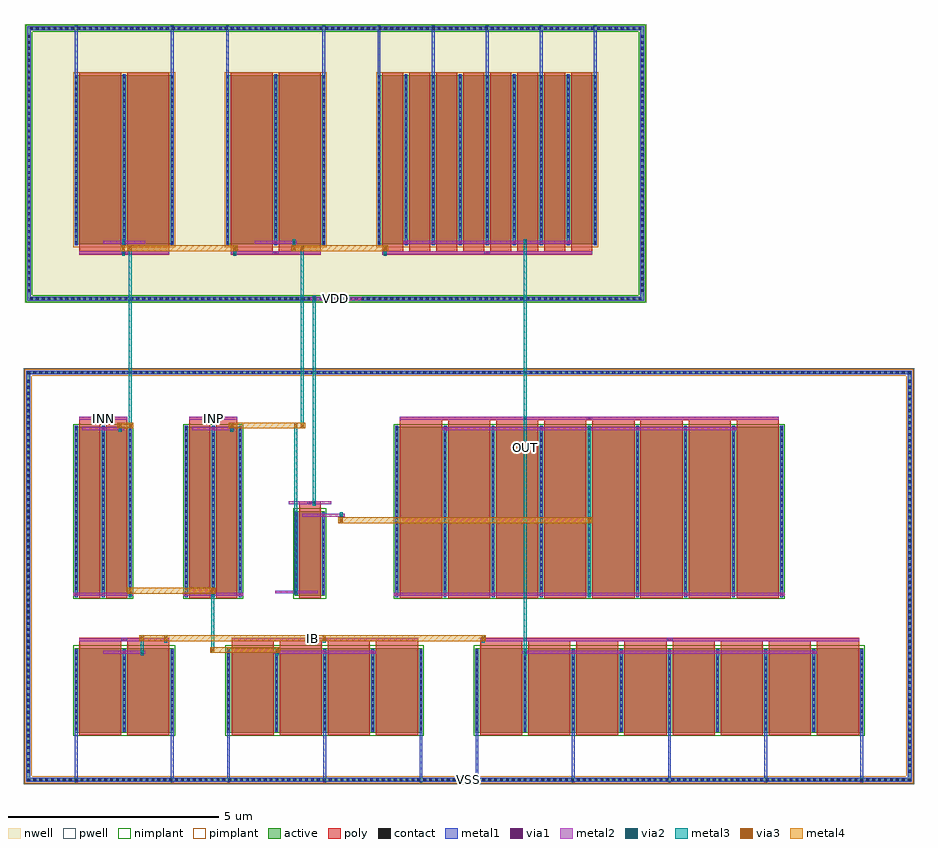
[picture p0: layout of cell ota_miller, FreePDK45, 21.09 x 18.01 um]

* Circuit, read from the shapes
.subckt ota_miller IB INN INP OUT VDD VSS
M1 IB IB VSS VSS nfet w=2u l=1u m=2
M2 n1 INN n2 VSS nfet w=4u l=0.5u m=2
M3 n3 INP n2 VSS nfet w=4u l=0.5u m=2
M4 n2 IB VSS VSS nfet w=2u l=1u m=4
M5 n4 VDD n3 VSS nfet w=2u l=0.5u
M6 n4 OUT n4 VSS nfet w=4u l=1u m=8
M7 OUT IB VSS VSS nfet w=2u l=1u m=8
M8 n1 n1 VDD VDD pfet w=4u l=1u m=2
M9 n3 n1 VDD VDD pfet w=4u l=1u m=2
M10 OUT n3 VDD VDD pfet w=4u l=0.5u m=8
.ends

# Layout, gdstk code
import gdstk
lib = gdstk.Library(unit=1e-6, precision=5e-10)
def R(c, l, rs):  # rectangles x0, y0, x1, y1
    for r in rs: c.add(gdstk.rectangle(r[:2], r[2:], *l))
def A(c, l, x, y, w, h, nx, ny, dx, dy):  # array of equal rectangles
    R(c, l, [(x+i*dx, y+j*dy, x+i*dx+w, y+j*dy+h) for i in range(nx) for j in range(ny)])
active = (1, 0)
pwell = (2, 0)
nwell = (3, 0)
nimplant = (4, 0)
pimplant = (5, 0)
poly = (9, 0)
contact = (10, 0)
metal1 = (11, 0)
via1 = (12, 0)
metal2 = (13, 0)
via2 = (14, 0)
metal3 = (15, 0)
via3 = (16, 0)
metal4 = (17, 0)

ota_miller = lib.new_cell('ota_miller')
R(ota_miller, active, [(-1.145,-1.16,19.84,-1.07), (-1.145,-1.07,-1.055,8.49), (19.75,-1.07,19.84,8.49), (0,0,2.355,2), (3.61,0,8.245,2), (9.5,0,18.695,2), (0,3.245,1.355,7.245), (2.61,3.245,3.965,7.245), (5.22,3.245,5.935,5.245), (7.6,3.245,16.795,7.245), (-1.145,8.49,19.84,8.58), (-1.125,10.24,13.5,10.33), (-1.125,10.33,-1.035,16.65), (13.41,10.33,13.5,16.65), (0,11.58,2.355,15.58), (3.59,11.58,5.945,15.58), (7.18,11.58,12.375,15.58), (-1.125,16.65,13.5,16.74)])
R(ota_miller, pwell, [(-1.2,-1.215,19.895,8.635), (-0.055,-0.055,2.41,2.055), (3.555,-0.055,8.3,2.055), (9.445,-0.055,18.75,2.055), (-0.055,3.19,1.41,7.3), (2.555,3.19,4.02,7.3), (5.165,3.19,5.99,5.3), (7.545,3.19,16.85,7.3)])
R(ota_miller, nwell, [(-1.18,10.185,13.555,16.795)])
R(ota_miller, nimplant, [(-0.035,-0.07,2.39,2.07), (3.575,-0.07,8.28,2.07), (9.465,-0.07,18.73,2.07), (-0.035,3.175,1.39,7.315), (2.575,3.175,4,7.315), (5.185,3.175,5.97,5.315), (7.565,3.175,16.83,7.315), (-1.16,10.205,13.535,10.365), (-1.16,10.295,-1,16.685), (13.375,10.295,13.535,16.685), (-1.16,16.615,13.535,16.775)])
R(ota_miller, pimplant, [(-1.18,-1.195,19.875,-1.035), (-1.18,-1.105,-1.02,8.525), (19.715,-1.105,19.875,8.525), (-1.18,8.455,19.875,8.615), (-0.035,11.51,2.39,15.65), (3.555,11.51,5.98,15.65), (7.145,11.51,12.41,15.65)])
A(ota_miller, poly, 3.72, -0.055, 1, 2.11, 4, 1, 1.14, 0)
A(ota_miller, poly, 3.72, -0.055, 1, 2.265, 4, 1, 1.14, 0)
A(ota_miller, poly, 9.61, -0.055, 1, 2.11, 8, 1, 1.14, 0)
A(ota_miller, poly, 9.61, -0.055, 1, 2.265, 8, 1, 1.14, 0)
A(ota_miller, poly, 7.71, 3.19, 1, 4.11, 8, 1, 1.14, 0)
A(ota_miller, poly, 7.71, 3.19, 1, 4.26, 8, 1, 1.14, 0)
A(ota_miller, poly, 7.29, 11.37, 0.5, 4.265, 8, 1, 0.64, 0)
A(ota_miller, poly, 7.29, 11.525, 0.5, 4.11, 8, 1, 0.64, 0)
R(ota_miller, poly, [(0.11,-0.055,1.11,2.055), (0.11,-0.055,1.11,2.21), (1.25,-0.055,2.25,2.055), (1.25,-0.055,2.25,2.21), (0.11,2.17,2.25,2.245), (1.14,2.17,1.215,2.245), (3.72,2.17,8.14,2.245), (5.89,2.17,5.965,2.245), (9.61,2.17,18.59,2.245), (14.06,2.17,14.135,2.245), (0.11,3.19,0.61,7.3), (0.11,3.19,0.61,7.45), (0.75,3.19,1.25,7.3), (0.75,3.19,1.25,7.45), (2.72,3.19,3.22,7.3), (2.72,3.19,3.22,7.45), (3.36,3.19,3.86,7.3), (3.36,3.19,3.86,7.45), (5.33,3.19,5.83,5.3), (5.33,3.19,5.83,5.45), (5.33,5.41,5.83,5.485), (5.54,5.41,5.615,5.485), (0.11,7.41,1.25,7.485), (0.64,7.41,0.715,7.485), (2.72,7.41,3.86,7.485), (3.25,7.41,3.325,7.485), (7.71,7.41,16.69,7.485), (12.16,7.41,12.235,7.485), (0.11,11.33,2.25,11.405), (1.14,11.33,1.215,11.405), (3.7,11.33,5.84,11.405), (4.73,11.33,4.805,11.405), (7.29,11.33,12.27,11.405), (9.74,11.33,9.815,11.405), (0.11,11.37,1.11,15.635), (1.25,11.37,2.25,15.635), (3.7,11.37,4.7,15.635), (4.84,11.37,5.84,15.635), (0.11,11.525,1.11,15.635), (1.25,11.525,2.25,15.635), (3.7,11.525,4.7,15.635), (4.84,11.525,5.84,15.635)])
A(ota_miller, contact, -1.115, -1.15, 0.065, 0.065, 150, 2, 0.14, 9.65)
A(ota_miller, contact, -1.135, -0.945, 0.065, 0.065, 1, 67, 0, 0.14)
A(ota_miller, contact, 19.76, -0.945, 0.065, 0.065, 1, 67, 0, 0.14)
A(ota_miller, contact, 0.005, 0.055, 0.065, 0.065, 3, 14, 1.14, 0.14)
A(ota_miller, contact, 3.615, 0.055, 0.065, 0.065, 5, 14, 1.14, 0.14)
A(ota_miller, contact, 9.505, 0.055, 0.065, 0.065, 9, 14, 1.14, 0.14)
A(ota_miller, contact, 0.005, 3.25, 0.065, 0.065, 3, 29, 0.64, 0.14)
A(ota_miller, contact, 2.615, 3.25, 0.065, 0.065, 3, 29, 0.64, 0.14)
A(ota_miller, contact, 7.605, 3.25, 0.065, 0.065, 9, 29, 1.14, 0.14)
A(ota_miller, contact, 5.225, 3.3, 0.065, 0.065, 1, 14, 0, 0.14)
A(ota_miller, contact, 5.865, 3.3, 0.065, 0.065, 1, 14, 0, 0.14)
A(ota_miller, contact, -1.055, 10.25, 0.065, 0.065, 104, 2, 0.14, 6.41)
A(ota_miller, contact, -1.115, 10.445, 0.065, 0.065, 1, 44, 0, 0.14)
A(ota_miller, contact, 13.42, 10.445, 0.065, 0.065, 1, 44, 0, 0.14)
A(ota_miller, contact, 0.005, 11.585, 0.065, 0.065, 3, 29, 1.14, 0.14)
A(ota_miller, contact, 3.595, 11.585, 0.065, 0.065, 3, 29, 1.14, 0.14)
A(ota_miller, contact, 7.185, 11.585, 0.065, 0.065, 9, 29, 0.64, 0.14)
R(ota_miller, contact, [(1.145,2.175,1.21,2.24), (5.895,2.175,5.96,2.24), (14.065,2.175,14.13,2.24), (5.545,5.415,5.61,5.48), (0.645,7.415,0.71,7.48), (3.255,7.415,3.32,7.48), (12.165,7.415,12.23,7.48), (1.145,11.335,1.21,11.4), (4.735,11.335,4.8,11.4), (9.745,11.335,9.81,11.4)])
A(ota_miller, metal1, 3.615, -1.17, 0.065, 1.19, 3, 1, 2.28, 0)
A(ota_miller, metal1, 9.505, -1.17, 0.065, 1.19, 5, 1, 2.28, 0)
A(ota_miller, metal1, 0.005, 0.02, 0.065, 1.955, 3, 1, 1.14, 0)
A(ota_miller, metal1, 3.615, 0.02, 0.065, 1.955, 5, 1, 1.14, 0)
A(ota_miller, metal1, 9.505, 0.02, 0.065, 1.955, 9, 1, 1.14, 0)
A(ota_miller, metal1, 10.645, 1.835, 0.07, 0.14, 4, 1, 2.28, 0)
A(ota_miller, metal1, 0.005, 3.215, 0.065, 4.055, 3, 1, 0.64, 0)
A(ota_miller, metal1, 2.615, 3.215, 0.065, 4.055, 3, 1, 0.64, 0)
A(ota_miller, metal1, 7.605, 3.215, 0.065, 4.055, 9, 1, 1.14, 0)
A(ota_miller, metal1, 7.605, 3.215, 0.07, 0.14, 5, 1, 2.28, 0)
A(ota_miller, metal1, 8.745, 7.13, 0.07, 0.14, 4, 1, 2.28, 0)
A(ota_miller, metal1, 0.005, 11.55, 0.065, 4.055, 3, 1, 1.14, 0)
A(ota_miller, metal1, 3.595, 11.55, 0.065, 4.055, 3, 1, 1.14, 0)
A(ota_miller, metal1, 7.185, 11.55, 0.065, 4.055, 9, 1, 0.64, 0)
A(ota_miller, metal1, 7.825, 11.55, 0.07, 0.14, 4, 1, 1.28, 0)
A(ota_miller, metal1, 7.185, 15.605, 0.065, 1.145, 5, 1, 1.28, 0)
R(ota_miller, metal1, [(0.005,-1.17,0.07,0.02), (2.285,-1.17,2.35,0.02), (-1.15,-1.16,19.845,-1.07), (-1.145,-1.07,-1.055,8.49), (19.75,-1.07,19.84,8.49), (1.145,1.835,1.215,1.975), (4.755,1.835,4.825,1.975), (7.035,1.835,7.105,1.975), (1.11,2.175,1.25,2.245), (5.86,2.175,6,2.245), (14.03,2.175,14.17,2.245), (0.005,3.215,0.075,3.355), (1.285,3.215,1.355,3.355), (2.615,3.215,2.685,3.355), (3.895,3.215,3.965,3.355), (5.225,3.265,5.295,3.405), (5.225,3.265,5.29,5.22), (5.865,3.265,5.93,5.22), (5.865,5.08,5.935,5.22), (5.51,5.415,5.65,5.485), (0.645,7.13,0.715,7.27), (3.255,7.13,3.325,7.27), (0.61,7.415,0.75,7.485), (3.22,7.415,3.36,7.485), (12.13,7.415,12.27,7.485), (-1.15,8.49,19.845,8.58), (-1.125,10.24,13.5,10.33), (6.12,10.25,6.26,10.32), (-1.125,10.33,-1.035,16.65), (13.41,10.33,13.5,16.65), (1.11,11.335,1.25,11.405), (4.7,11.335,4.84,11.405), (9.71,11.335,9.85,11.405), (1.145,11.55,1.215,11.69), (4.735,11.55,4.805,11.69), (0.005,15.605,0.07,16.75), (2.285,15.605,2.35,16.75), (3.595,15.605,3.66,16.75), (5.875,15.605,5.94,16.75), (-1.125,16.65,13.5,16.74)])
A(ota_miller, via1, 10.645, 1.87, 0.07, 0.07, 4, 1, 2.28, 0)
A(ota_miller, via1, 7.605, 3.25, 0.07, 0.07, 5, 1, 2.28, 0)
A(ota_miller, via1, 8.745, 7.165, 0.07, 0.07, 4, 1, 2.28, 0)
A(ota_miller, via1, 7.825, 11.585, 0.07, 0.07, 4, 1, 1.28, 0)
R(ota_miller, via1, [(1.145,1.87,1.215,1.94), (4.755,1.87,4.825,1.94), (7.035,1.87,7.105,1.94), (1.145,2.175,1.215,2.245), (5.895,2.175,5.965,2.245), (14.065,2.175,14.135,2.245), (0.005,3.25,0.075,3.32), (1.285,3.25,1.355,3.32), (2.615,3.25,2.685,3.32), (3.895,3.25,3.965,3.32), (5.225,3.3,5.295,3.37), (5.865,5.115,5.935,5.185), (5.545,5.415,5.615,5.485), (0.645,7.165,0.715,7.235), (3.255,7.165,3.325,7.235), (0.645,7.415,0.715,7.485), (3.255,7.415,3.325,7.485), (12.165,7.415,12.235,7.485), (6.155,10.25,6.225,10.32), (1.145,11.335,1.215,11.405), (4.735,11.335,4.805,11.405), (9.745,11.335,9.815,11.405), (1.145,11.585,1.215,11.655), (4.735,11.585,4.805,11.655)])
A(ota_miller, metal2, 10.61, 1.87, 0.14, 0.07, 4, 1, 2.28, 0)
A(ota_miller, metal2, 2.09, 2.17, 0.14, 0.07, 3, 1, 3.76, 0)
A(ota_miller, metal2, 7.57, 3.25, 0.14, 0.07, 3, 1, 2.28, 0)
A(ota_miller, metal2, 12.13, 3.25, 0.14, 0.07, 3, 1, 2.28, 0)
A(ota_miller, metal2, 10.99, 7.165, 0.14, 0.07, 3, 1, 1.14, 0)
A(ota_miller, metal2, 7.79, 11.585, 0.14, 0.07, 3, 1, 1.28, 0)
R(ota_miller, metal2, [(0.68,1.87,1.68,1.94), (1.11,1.87,1.25,1.94), (1.53,1.87,1.67,1.94), (4.72,1.87,4.86,1.94), (4.72,1.87,7.14,1.94), (4.73,1.87,4.87,1.94), (7,1.87,7.14,1.94), (10.61,1.87,10.75,1.94), (10.61,1.87,17.59,1.94), (0.11,2.17,2.25,2.24), (3.72,2.17,8.14,2.24), (9.61,2.17,18.59,2.24), (1.11,2.175,1.25,2.245), (5.86,2.175,6,2.245), (14.03,2.175,14.17,2.245), (-0.03,3.25,0.11,3.32), (-0.03,3.25,1.39,3.32), (1.25,3.25,1.39,3.32), (1.25,3.25,1.39,3.32), (2.58,3.25,2.72,3.32), (2.58,3.25,4,3.32), (3.21,3.25,3.35,3.32), (3.86,3.25,4,3.32), (7.57,3.25,16.83,3.32), (4.76,3.3,5.76,3.37), (5.17,3.3,5.31,3.37), (5.19,3.3,5.33,3.37), (5.4,5.115,6.4,5.185), (5.83,5.115,5.97,5.185), (6.25,5.115,6.39,5.185), (5.08,5.415,6.08,5.49), (5.51,5.415,5.65,5.485), (5.61,5.415,5.75,5.485), (0.18,7.165,1.18,7.235), (0.61,7.165,0.75,7.235), (1.01,7.165,1.15,7.235), (2.79,7.165,3.79,7.235), (3.22,7.165,3.36,7.235), (3.65,7.165,3.79,7.235), (8.71,7.165,8.85,7.235), (8.71,7.165,15.69,7.235), (15.55,7.165,15.69,7.235), (0.11,7.415,1.25,7.49), (0.61,7.415,0.75,7.485), (2.72,7.415,3.86,7.49), (3.22,7.415,3.36,7.485), (7.71,7.415,16.69,7.49), (10.61,7.415,10.75,7.485), (12.13,7.415,12.27,7.485), (5.59,10.25,6.79,10.32), (5.61,10.25,5.75,10.32), (6.12,10.25,6.26,10.32), (1.11,11.335,1.25,11.405), (4.7,11.335,4.84,11.405), (9.71,11.335,9.85,11.405), (0.11,11.34,2.25,11.41), (1.09,11.34,1.23,11.41), (3.7,11.34,5.84,11.41), (3.73,11.34,3.87,11.41), (7.29,11.34,7.43,11.41), (7.29,11.34,12.27,11.41), (0.68,11.585,1.68,11.655), (1.09,11.585,1.23,11.655), (1.11,11.585,1.25,11.655), (4.27,11.585,5.27,11.655), (4.7,11.585,4.84,11.655), (5.13,11.585,5.27,11.655), (7.79,11.585,11.77,11.655), (10.61,11.585,10.75,11.655), (11.63,11.585,11.77,11.655)])
A(ota_miller, via2, 2.125, 2.17, 0.07, 0.07, 3, 1, 3.76, 0)
R(ota_miller, via2, [(1.565,1.87,1.635,1.94), (4.765,1.87,4.835,1.94), (10.645,1.87,10.715,1.94), (1.285,3.25,1.355,3.32), (3.245,3.25,3.315,3.32), (12.165,3.25,12.235,3.32), (5.205,3.3,5.275,3.37), (6.285,5.115,6.355,5.185), (5.645,5.415,5.715,5.485), (1.045,7.165,1.115,7.235), (3.685,7.165,3.755,7.235), (12.165,7.165,12.235,7.235), (10.645,7.415,10.715,7.485), (5.645,10.25,5.715,10.32), (1.125,11.34,1.195,11.41), (3.765,11.34,3.835,11.41), (7.325,11.34,7.395,11.41), (1.125,11.585,1.195,11.655), (5.165,11.585,5.235,11.655), (10.645,11.585,10.715,11.655)])
A(ota_miller, metal3, 2.125, 2.135, 0.07, 0.14, 3, 2, 3.76, 0.035)
A(ota_miller, metal3, 2.125, 2.205, 0.07, 0.035, 3, 1, 3.76, 0)
A(ota_miller, metal3, 1.125, 11.41, 0.07, 0.14, 1, 3, 0, 0.07)
A(ota_miller, metal3, 5.165, 11.41, 0.07, 0.14, 1, 3, 0, 0.07)
R(ota_miller, metal3, [(1.565,1.835,1.635,1.975), (4.765,1.835,4.835,1.975), (10.645,1.835,10.715,1.975), (3.245,1.89,3.315,2.03), (4.765,1.89,4.835,2.03), (1.565,1.905,1.635,2.24), (4.765,1.905,4.835,1.96), (10.645,1.905,10.715,11.62), (3.245,1.96,3.315,3.36), (1.565,2.17,1.635,2.31), (1.285,3.215,1.355,3.355), (3.245,3.215,3.315,3.355), (12.165,3.215,12.235,3.355), (5.205,3.265,5.275,3.405), (1.285,3.285,1.355,3.36), (3.245,3.285,3.315,3.36), (12.165,3.285,12.235,5.04), (1.285,3.29,1.355,3.43), (3.245,3.29,3.315,3.43), (3.245,3.29,3.315,3.43), (5.205,3.335,5.275,7.28), (6.285,4.97,6.355,5.11), (12.165,4.97,12.235,5.11), (12.165,4.97,12.235,5.11), (6.285,5.04,6.355,5.15), (12.165,5.04,12.235,7.2), (6.285,5.08,6.355,5.22), (5.645,5.38,5.715,5.52), (5.645,5.45,5.715,10.285), (1.045,7.13,1.115,7.27), (3.685,7.13,3.755,7.27), (12.165,7.13,12.235,7.27), (1.045,7.2,1.115,7.28), (3.685,7.2,3.755,7.28), (1.045,7.21,1.115,7.35), (1.285,7.21,1.355,7.35), (3.685,7.21,3.755,7.35), (5.205,7.21,5.275,7.35), (5.365,7.21,5.435,7.35), (1.285,7.28,1.355,11.48), (5.365,7.28,5.435,11.48), (10.645,7.38,10.715,7.52), (5.645,10.215,5.715,10.355), (1.125,11.305,1.195,11.445), (3.765,11.305,3.835,11.445), (7.325,11.305,7.395,11.445), (1.125,11.375,1.195,11.48), (3.765,11.375,3.835,11.48), (7.325,11.375,7.395,11.48), (1.125,11.41,1.195,11.55), (1.285,11.41,1.355,11.55), (3.765,11.41,3.835,11.55), (5.365,11.41,5.435,11.55), (7.325,11.41,7.395,11.55), (10.645,11.55,10.715,11.69)])
A(ota_miller, via3, 2.125, 2.205, 0.07, 0.07, 3, 1, 3.76, 0)
R(ota_miller, via3, [(3.245,1.925,3.315,1.995), (4.765,1.925,4.835,1.995), (1.565,2.205,1.635,2.275), (1.285,3.325,1.355,3.395), (3.245,3.325,3.315,3.395), (3.245,3.325,3.315,3.395), (6.285,5.005,6.355,5.075), (12.165,5.005,12.235,5.075), (12.165,5.005,12.235,5.075), (1.045,7.245,1.115,7.315), (1.285,7.245,1.355,7.315), (3.685,7.245,3.755,7.315), (5.205,7.245,5.275,7.315), (5.365,7.245,5.435,7.315), (1.125,11.445,1.195,11.515), (1.125,11.445,1.195,11.515), (1.285,11.445,1.355,11.515), (3.765,11.445,3.835,11.515), (5.165,11.445,5.235,11.515), (5.365,11.445,5.435,11.515), (7.325,11.445,7.395,11.515)])
A(ota_miller, metal4, 2.09, 2.17, 0.14, 0.14, 3, 1, 3.76, 0)
R(ota_miller, metal4, [(3.21,1.89,3.35,2.03), (3.28,1.89,4.8,2.03), (4.73,1.89,4.87,2.03), (1.53,2.17,1.67,2.31), (1.6,2.17,9.68,2.31), (1.25,3.29,1.39,3.43), (1.32,3.29,3.28,3.43), (3.21,3.29,3.35,3.43), (3.21,3.29,3.35,3.43), (6.25,4.97,6.39,5.11), (6.32,4.97,12.2,5.11), (12.13,4.97,12.27,5.11), (12.13,4.97,12.27,5.11), (1.01,7.21,1.15,7.35), (1.08,7.21,1.32,7.35), (1.25,7.21,1.39,7.35), (3.65,7.21,3.79,7.35), (3.72,7.21,5.4,7.35), (5.17,7.21,5.31,7.35), (5.33,7.21,5.47,7.35), (1.09,11.41,1.23,11.55), (1.09,11.41,1.23,11.55), (1.16,11.41,3.8,11.55), (1.25,11.41,1.39,11.55), (3.73,11.41,3.87,11.55), (5.13,11.41,5.27,11.55), (5.2,11.41,7.36,11.55), (5.33,11.41,5.47,11.55), (7.29,11.41,7.43,11.55)])
ota_miller.add(gdstk.Label('INP', (3.29,7.452), layer=13, texttype=1))
ota_miller.add(gdstk.Label('INN', (0.68,7.452), layer=13, texttype=1))
ota_miller.add(gdstk.Label('OUT', (10.68,6.762), layer=15, texttype=1))
ota_miller.add(gdstk.Label('IB', (5.64,2.24), layer=17, texttype=1))
ota_miller.add(gdstk.Label('VDD', (6.187,10.285), layer=11, texttype=1))
ota_miller.add(gdstk.Label('VSS', (9.347,-1.115), layer=11, texttype=1))

lib.write_gds('ota_miller.gds')
